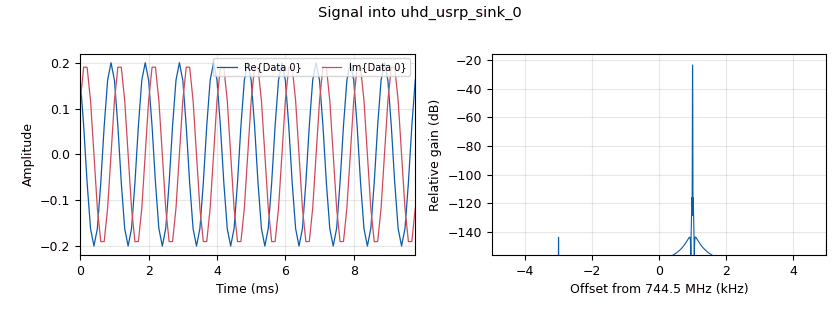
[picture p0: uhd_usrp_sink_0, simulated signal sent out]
<?xml version='1.0' encoding='utf-8'?>
<?grc format='1' created='3.7.9'?>
<flow_graph>
<block>
<key>options</key>
<param><key>id</key><value>disturber</value></param>
<param><key>generate_options</key><value>qt_gui</value></param>
</block>
<block>
<key>variable_qtgui_range</key>
<param><key>id</key><value>freq</value></param>
<param><key>value</key><value>7e6</value></param>
<param><key>orient</key><value>Qt.Horizontal</value></param>
<param><key>start</key><value>700e3</value></param>
<param><key>step</key><value>50e3</value></param>
<param><key>stop</key><value>10e6</value></param>
</block>
<block>
<key>variable_qtgui_range</key>
<param><key>id</key><value>gain</value></param>
<param><key>value</key><value>13</value></param>
<param><key>orient</key><value>Qt.Horizontal</value></param>
<param><key>start</key><value>0</value></param>
<param><key>step</key><value>1</value></param>
<param><key>stop</key><value>30</value></param>
</block>
<block>
<key>variable</key>
<param><key>id</key><value>samp_rate</value></param>
<param><key>value</key><value>10e3</value></param>
</block>
<block>
<key>variable_qtgui_range</key>
<param><key>id</key><value>srate</value></param>
<param><key>value</key><value>100e3</value></param>
<param><key>orient</key><value>Qt.Horizontal</value></param>
<param><key>start</key><value>50e3</value></param>
<param><key>step</key><value>1</value></param>
<param><key>stop</key><value>500e3</value></param>
</block>
<block>
<key>analog_sig_source_x</key>
<param><key>id</key><value>analog_sig_source_x_0</value></param>
<param><key>amp</key><value>1</value></param>
<param><key>freq</key><value>1000</value></param>
<param><key>offset</key><value>0</value></param>
<param><key>type</key><value>complex</value></param>
<param><key>samp_rate</key><value>samp_rate</value></param>
<param><key>waveform</key><value>analog.GR_COS_WAVE</value></param>
</block>
<block>
<key>analog_sig_source_x</key>
<param><key>id</key><value>analog_sig_source_x_0_0</value></param>
<param><key>amp</key><value>1</value></param>
<param><key>_enabled</key><value>0</value></param>
<param><key>freq</key><value>freq</value></param>
<param><key>offset</key><value>0</value></param>
<param><key>type</key><value>complex</value></param>
<param><key>samp_rate</key><value>samp_rate</value></param>
<param><key>waveform</key><value>analog.GR_COS_WAVE</value></param>
</block>
<block>
<key>blocks_multiply_const_vxx</key>
<param><key>id</key><value>blocks_multiply_const_vxx_0</value></param>
<param><key>const</key><value>0.2</value></param>
<param><key>type</key><value>complex</value></param>
</block>
<block>
<key>blocks_multiply_xx</key>
<param><key>id</key><value>blocks_multiply_xx_0</value></param>
<param><key>_enabled</key><value>0</value></param>
<param><key>type</key><value>complex</value></param>
</block>
<block>
<key>uhd_usrp_sink</key>
<param><key>id</key><value>uhd_usrp_sink_0</value></param>
<param><key>ant0</key><value></value></param>
<param><key>center_freq0</key><value>737.5e6 + freq</value></param>
<param><key>norm_gain0</key><value>False</value></param>
<param><key>gain0</key><value>gain</value></param>
<param><key>clock_rate</key><value>0.0</value></param>
<param><key>dev_addr</key><value>addr=192.168.20.2</value></param>
<param><key>dev_args</key><value>""</value></param>
<param><key>type</key><value>fc32</value></param>
<param><key>samp_rate</key><value>samp_rate</value></param>
<param><key>hide_cmd_port</key><value>False</value></param>
<param><key>sync</key><value></value></param>
<param><key>len_tag_name</key><value></value></param>
</block>
<connection><source_block_id>analog_sig_source_x_0</source_block_id><sink_block_id>blocks_multiply_const_vxx_0</sink_block_id><source_key>0</source_key><sink_key>0</sink_key></connection>
<connection><source_block_id>analog_sig_source_x_0_0</source_block_id><sink_block_id>blocks_multiply_xx_0</sink_block_id><source_key>0</source_key><sink_key>1</sink_key></connection>
<connection><source_block_id>blocks_multiply_const_vxx_0</source_block_id><sink_block_id>blocks_multiply_xx_0</sink_block_id><source_key>0</source_key><sink_key>0</sink_key></connection>
<connection><source_block_id>blocks_multiply_const_vxx_0</source_block_id><sink_block_id>uhd_usrp_sink_0</sink_block_id><source_key>0</source_key><sink_key>0</sink_key></connection>
<connection><source_block_id>blocks_multiply_xx_0</source_block_id><sink_block_id>uhd_usrp_sink_0</sink_block_id><source_key>0</source_key><sink_key>0</sink_key></connection>
</flow_graph>
